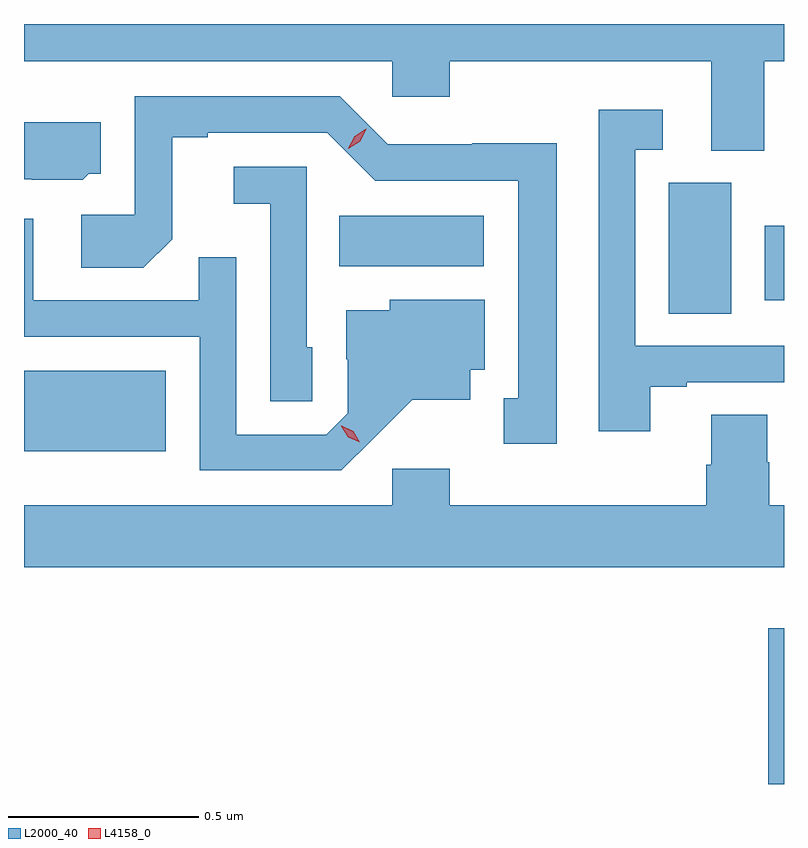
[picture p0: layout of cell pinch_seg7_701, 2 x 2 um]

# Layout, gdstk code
import gdstk
lib = gdstk.Library(unit=1e-6, precision=1e-09)
def R(c, l, rs):  # rectangles x0, y0, x1, y1
    for r in rs: c.add(gdstk.rectangle(r[:2], r[2:], *l))
def P(c, l, *ps):  # polygons
    for p in ps: c.add(gdstk.Polygon(p, *l))
L2000_40 = (2000, 40)
L4158_0 = (4158, 0)

pinch_seg7_701 = lib.new_cell('pinch_seg7_701')
R(pinch_seg7_701, L2000_40, [(155.592,1006.706,155.633,1007.116), (153.633,1007.582,154.006,1007.794), (155.33,1007.944,155.494,1008.288), (155.582,1007.979,155.633,1008.175), (154.462,1008.068,154.843,1008.202)])
P(pinch_seg7_701, L2000_40, [(155.581,1008.608),(155.633,1008.608),(155.633,1008.706),(153.633,1008.706),(153.633,1008.608),(154.602,1008.608),(154.602,1008.515),(154.754,1008.515),(154.754,1008.608),(155.441,1008.608),(155.441,1008.373),(155.581,1008.373)],
  [(155.035,1008.392),(154.812,1008.392),(154.812,1008.39),(154.59,1008.39),(154.464,1008.516),(153.924,1008.516),(153.924,1008.204),(153.783,1008.204),(153.783,1008.064),(153.947,1008.064),(154.023,1008.14),(154.023,1008.408),(154.117,1008.408),(154.117,1008.42),(154.431,1008.42),(154.557,1008.294),(154.934,1008.294),(154.934,1007.721),(154.895,1007.721),(154.895,1007.601),(155.035,1007.601)],
  [(155.281,1007.751),(155.377,1007.751),(155.377,1007.763),(155.633,1007.763),(155.633,1007.859),(155.241,1007.859),(155.241,1008.375),(155.314,1008.375),(155.314,1008.481),(155.145,1008.481),(155.145,1007.634),(155.281,1007.634)],
  [(153.804,1008.312),(153.835,1008.312),(153.835,1008.448),(153.633,1008.448),(153.633,1008.297),(153.654,1008.297),(153.654,1008.296),(153.788,1008.296)],
  [(154.392,1007.856),(154.377,1007.856),(154.377,1008.33),(154.185,1008.33),(154.185,1008.233),(154.281,1008.233),(154.281,1007.713),(154.392,1007.713)],
  [(154.552,1007.615),(154.655,1007.717),(154.807,1007.717),(154.807,1007.796),(154.846,1007.796),(154.846,1007.98),(154.596,1007.98),(154.596,1007.953),(154.481,1007.953),(154.481,1007.824),(154.485,1007.824),(154.485,1007.682),(154.428,1007.625),(154.191,1007.625),(154.191,1008.092),(154.093,1008.092),(154.093,1007.979),(153.657,1007.979),(153.657,1008.193),(153.633,1008.193),(153.633,1007.883),(154.095,1007.883),(154.095,1007.532),(154.468,1007.532)],
  [(155.633,1007.44),(155.594,1007.44),(155.594,1007.553),(155.589,1007.553),(155.589,1007.678),(155.441,1007.678),(155.441,1007.546),(155.429,1007.546),(155.429,1007.44),(154.754,1007.44),(154.754,1007.536),(154.602,1007.536),(154.602,1007.44),(153.633,1007.44),(153.633,1007.276),(155.633,1007.276)])
P(pinch_seg7_701, L4158_0, [(154.486,1008.378),(154.486,1008.379),(154.503,1008.411),(154.534,1008.431),(154.534,1008.431),(154.534,1008.431),(154.518,1008.398),(154.486,1008.378)],
  [(154.517,1007.605),(154.486,1007.619),(154.468,1007.648),(154.468,1007.649),(154.469,1007.649),(154.5,1007.634),(154.517,1007.605),(154.517,1007.605)])

lib.write_gds('pinch_seg7_701.gds')
